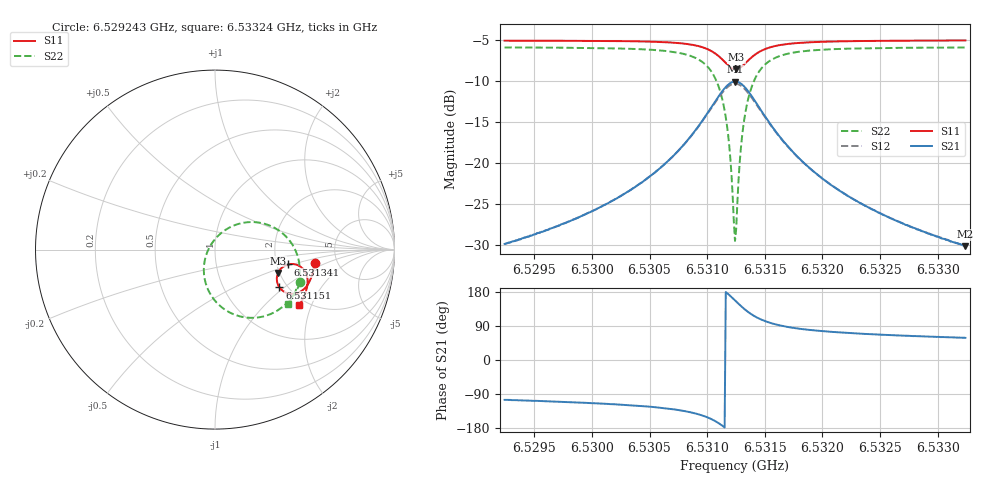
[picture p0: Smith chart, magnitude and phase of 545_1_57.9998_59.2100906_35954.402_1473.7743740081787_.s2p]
#  HZ  S  RI  R  50.00
! Rohde & Schwarz Vector Network Analyzer
! Rohde-Schwarz,ZNB20-2Port,1311601062101988,3.16
! Created: UTC 3/21/2024, 1:14:45 AM
! freq[Hz]  re:S11  im:S11  re:S21  im:S21  re:S12  im:S12  re:S22  im:S22
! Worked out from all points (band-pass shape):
!   401 points, 6.529243 GHz to 6.53324 GHz, reference 50 ohm
!   highest |S21| = -10.03 dB at 6.531241 GHz (marker M1); lowest = -30.2 dB at 6.53324 GHz (marker M2)
!   |S21| within 3 dB of the highest: 6.531043 GHz to 6.531443 GHz (400.3 kHz wide, 0.00613 % of centre)
!   lowest |S11| = -8.5 dB at 6.531251 GHz (marker M3), VSWR 2.20, Z = 98.2 - j29.7 ohm
!   |S11| at or under -10 dB: nowhere
!   |S22| runs from -29.5 to -5.9 dB; largest |S21 - S12| = 0.012
!   S11 on the Smith chart (normalised r, x): 6.529243 GHz: 3.37, -0.75; 6.531151 GHz: 1.82, -0.93; 6.531341 GHz: 2.30, -0.46; 6.53324 GHz: 1.82, -1.64
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6.5292428e9  0.5557 -0.0763  -0.00839 -0.0309  -0.00896 -0.0307  0.4756 -0.1829
6.5299123e9  0.5437 -0.1322  -0.0183 -0.0438  -0.0193 -0.0434  0.4434 -0.2448
6.530262e9  0.5325 -0.1646  -0.0299 -0.0562  -0.0313 -0.0554  0.4126 -0.2851
6.5305818e9  0.5137 -0.1991  -0.0536 -0.0747  -0.0556 -0.0731  0.3593 -0.3323
6.5308117e9  0.4856 -0.2284  -0.0945 -0.0937  -0.0973 -0.0904  0.2766 -0.3706
6.5309815e9  0.4404 -0.2465  -0.1646 -0.0991  -0.1666 -0.0921  0.1484 -0.3742
6.5310815e9  0.3945 -0.2397  -0.2352 -0.0707  -0.2339 -0.0608  0.03 -0.315
6.5311514e9  0.3593 -0.2106  -0.2865 -0.00981  -0.2803 0.000257  -0.0464 -0.2045
6.5311914e9  0.3465 -0.1815  -0.302 0.0447  -0.2925 0.0526  -0.0624 -0.1118
6.5312214e9  0.3448 -0.1558  -0.3 0.0911  -0.2888 0.0964  -0.0509 -0.0361
6.5312314e9  0.3461 -0.1469  -0.2963 0.1066  -0.2848 0.111  -0.0422 -0.0114
6.5312413e9  0.3484 -0.1382  -0.2906 0.1218  -0.2793 0.1251  -0.031 0.0124
6.5312513e9  0.3515 -0.1299  -0.284 0.1364  -0.2725 0.1386  -0.0175 0.0351
6.5313013e9  0.3783 -0.0963  -0.2326 0.1942  -0.2231 0.1921  0.0761 0.1206
6.5313413e9  0.4064 -0.0829  -0.1819 0.2172  -0.175 0.2135  0.1632 0.1503
6.5314112e9  0.451 -0.0832  -0.1041 0.2179  -0.1007 0.2147  0.2931 0.1382
6.5315112e9  0.4896 -0.1066  -0.0378 0.1848  -0.0364 0.1829  0.4003 0.0682
6.531661e9  0.5112 -0.1438  0.00146 0.136  0.00269 0.1353  0.4582 -0.0298
6.5319109e9  0.5159 -0.1879  0.0178 0.0886  0.0187 0.0883  0.4719 -0.1291
6.5322306e9  0.5087 -0.226  0.02 0.0591  0.0209 0.0587  0.4604 -0.1983
6.5325804e9  0.4969 -0.2582  0.019 0.0422  0.0197 0.042  0.4427 -0.2453
6.5332399e9  0.4707 -0.3079  0.0162 0.0264  0.0169 0.0263  0.4083 -0.3044
